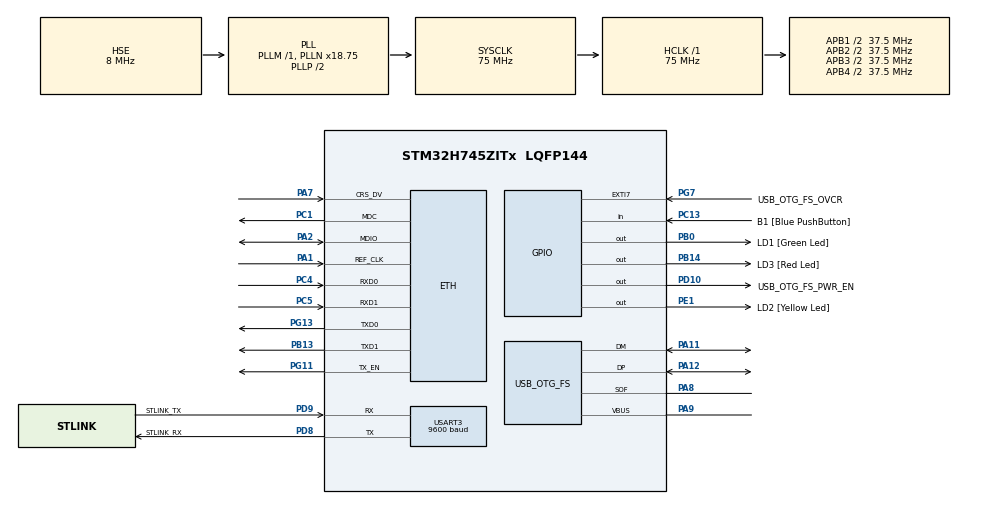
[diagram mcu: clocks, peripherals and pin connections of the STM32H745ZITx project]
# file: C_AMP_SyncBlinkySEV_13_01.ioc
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CortexM4.IPs=FATFS_M4\:I,FREERTOS_M4\:I,IWDG2\:I,RCC,WWDG2\:I,DMA,BDMA,MDMA,NVIC2\:I,ETH,DEBUG,USB_DEVICE_M4\:I,USB_HOST_M4\:I,PDM2PCM_M4\:I,PWR,RESMGR_UTILITY,SYS_M4\:I,CORTEX_M4\:I,OPENAMP_M4\:I,VREFBUF,GPIO,USART3
CortexM4.Pins=PB14,PE1
CortexM7.IPs=FATFS_M7\:I,FREERTOS_M7\:I,IWDG1\:I,RCC\:I,WWDG1\:I,DMA\:I,BDMA\:I,MDMA\:I,NVIC1\:I,SYS\:I,USART3\:I,USB_OTG_FS\:I,ETH\:I,CORTEX_M7\:I,DEBUG\:I,USB_DEVICE_M7\:I,USB_HOST_M7\:I,PDM2PCM_M7\:I,PWR\:I,RESMGR_UTILITY\:I,OPENAMP_M7\:I,VREFBUF\:I,GPIO\:I
CortexM7.Pins=PB0
ETH.MediaInterface=HAL_ETH_RMII_MODE
Mcu.Family=STM32H7
Mcu.Name=STM32H745ZITx
Mcu.Package=LQFP144
NVIC1.PriorityGroup=NVIC_PRIORITYGROUP_4
NVIC2.CM7_SEV_IRQn=true\:0\:0\:false\:false\:true\:true\:false\:true
NVIC2.PriorityGroup=NVIC_PRIORITYGROUP_4
PA1.Mode=RMII
PA1.PinAttribute=CortexM7
PA1.Signal=ETH_REF_CLK
PA11.Mode=Device_Only
PA11.PinAttribute=CortexM7
PA11.Signal=USB_OTG_FS_DM
PA12.Mode=Device_Only
PA12.PinAttribute=CortexM7
PA12.Signal=USB_OTG_FS_DP
PA2.Mode=RMII
PA2.PinAttribute=CortexM7
PA2.Signal=ETH_MDIO
PA7.Mode=RMII
PA7.PinAttribute=CortexM7
PA7.Signal=ETH_CRS_DV
PA8.Mode=Activate_SOF_FS
PA8.PinAttribute=CortexM7
PA8.Signal=USB_OTG_FS_SOF
PA9.Mode=Activate_VBUS
PA9.PinAttribute=CortexM7
PA9.Signal=USB_OTG_FS_VBUS
PB0.GPIO_Label=LD1 [Green Led]
PB0.PinAttribute=CortexM7
PB0.Signal=GPIO_Output
PB13.Mode=RMII
PB13.PinAttribute=CortexM7
PB13.Signal=ETH_TXD1
PB14.GPIO_Label=LD3 [Red Led]
PB14.PinAttribute=CortexM4
PB14.Signal=GPIO_Output
PC1.Mode=RMII
PC1.PinAttribute=CortexM7
PC1.Signal=ETH_MDC
PC13.GPIO_Label=B1 [Blue PushButton]
PC13.PinAttribute=Free
PC13.Signal=GPIO_Input
PC14-OSC32_IN\ (OSC32_IN).Mode=LSE-External-Oscillator
PC14-OSC32_IN\ (OSC32_IN).PinAttribute=CortexM7
PC14-OSC32_IN\ (OSC32_IN).Signal=RCC_OSC32_IN
PC15-OSC32_OUT\ (OSC32_OUT).Mode=LSE-External-Oscillator
PC15-OSC32_OUT\ (OSC32_OUT).PinAttribute=CortexM7
PC15-OSC32_OUT\ (OSC32_OUT).Signal=RCC_OSC32_OUT
PC4.Mode=RMII
PC4.PinAttribute=CortexM7
PC4.Signal=ETH_RXD0
PC5.Mode=RMII
PC5.PinAttribute=CortexM7
PC5.Signal=ETH_RXD1
PD10.GPIO_Label=USB_OTG_FS_PWR_EN
PD10.PinAttribute=Free
PD10.Signal=GPIO_Output
PD8.GPIO_Label=STLINK_RX
PD8.Mode=Asynchronous
PD8.PinAttribute=CortexM7
PD8.Signal=USART3_TX
PD9.GPIO_Label=STLINK_TX
PD9.Mode=Asynchronous
PD9.PinAttribute=CortexM7
PD9.Signal=USART3_RX
PE1.GPIO_Label=LD2 [Yellow Led]
PE1.PinAttribute=CortexM4
PE1.Signal=GPIO_Output
PG11.Mode=RMII
PG11.PinAttribute=CortexM7
PG11.Signal=ETH_TX_EN
PG13.Mode=RMII
PG13.PinAttribute=CortexM7
PG13.Signal=ETH_TXD0
PG7.GPIO_Label=USB_OTG_FS_OVCR
PG7.PinAttribute=Free
PG7.Signal=GPXTI7
PH0-OSC_IN\ (PH0).Mode=HSE-External-Clock-Source
PH0-OSC_IN\ (PH0).PinAttribute=CortexM7
PH0-OSC_IN\ (PH0).Signal=RCC_OSC_IN
PH1-OSC_OUT\ (PH1).PinAttribute=CortexM7
PH1-OSC_OUT\ (PH1).Signal=RCC_OSC_OUT
ProjectManager.HeapSize=M4-0x200,M7-0x200
ProjectManager.StackSize=M4-0x400,M7-0x400
ProjectManager.TargetToolchain=STM32CubeIDE
RCC.ADCFreq_Value=16125000
RCC.APB1Freq_Value=37500000
RCC.APB2Freq_Value=37500000
RCC.APB3Freq_Value=37500000
RCC.APB4Freq_Value=37500000
RCC.CortexFreq_Value=75000000
RCC.D1PPRE=RCC_APB3_DIV2
RCC.D2PPRE1=RCC_APB1_DIV2
RCC.D2PPRE2=RCC_APB2_DIV2
RCC.D3PPRE=RCC_APB4_DIV2
RCC.DIVM1=1
RCC.DIVM3=1
RCC.DIVN1=18
RCC.DIVN3=18
RCC.DIVQ3=3
RCC.HCLKFreq_Value=75000000
RCC.HSE_VALUE=8000000
RCC.PLL2FRACN=0
RCC.PLL3FRACN=6144
RCC.PLLFRACN=6144
RCC.SYSCLKFreq_VALUE=75000000
RCC.SYSCLKSource=RCC_SYSCLKSOURCE_PLLCLK
RCC.SupplySource=PWR_DIRECT_SMPS_SUPPLY
RCC.USBCLockSelection=RCC_USBCLKSOURCE_PLL3
RCC.USBFreq_Value=50000000
USART3.BaudRate=9600
USART3.VirtualMode-Asynchronous=VM_ASYNC
USB_OTG_FS.VirtualMode=Device_Only
VP_SYS_M4_VS_Systick.Mode=SysTick
board=NUCLEO-H745ZI-Q

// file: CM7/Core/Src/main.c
/* USER CODE BEGIN Header */
/**
  ******************************************************************************
  * @file           : main.c
  * @brief          : Main program body
  ******************************************************************************
  * @attention
  *
  * Copyright (c) 2023 STMicroelectronics.
  * All rights reserved.
  *
  * This software is licensed under terms that can be found in the LICENSE file
  * in the root directory of this software component.
  * If no LICENSE file comes with this software, it is provided AS-IS.
  *
  ******************************************************************************
  */
/* USER CODE END Header */
#include "main.h"
#include "string.h"

/* USER CODE BEGIN PD */

#ifndef HSEM_ID_0
#define HSEM_ID_0 (0U) /* HW semaphore 0*/
#endif

/* USER CODE END PD */

#if defined ( __ICCARM__ ) /*!< IAR Compiler */
#pragma location=0x30000000
ETH_DMADescTypeDef  DMARxDscrTab[ETH_RX_DESC_CNT]; /* Ethernet Rx DMA Descriptors */
#pragma location=0x30000200
ETH_DMADescTypeDef  DMATxDscrTab[ETH_TX_DESC_CNT]; /* Ethernet Tx DMA Descriptors */

#elif defined ( __CC_ARM )  /* MDK ARM Compiler */

__attribute__((at(0x30000000))) ETH_DMADescTypeDef  DMARxDscrTab[ETH_RX_DESC_CNT]; /* Ethernet Rx DMA Descriptors */
__attribute__((at(0x30000200))) ETH_DMADescTypeDef  DMATxDscrTab[ETH_TX_DESC_CNT]; /* Ethernet Tx DMA Descriptors */

#elif defined ( __GNUC__ ) /* GNU Compiler */
ETH_DMADescTypeDef DMARxDscrTab[ETH_RX_DESC_CNT] __attribute__((section(".RxDecripSection"))); /* Ethernet Rx DMA Descriptors */
ETH_DMADescTypeDef DMATxDscrTab[ETH_TX_DESC_CNT] __attribute__((section(".TxDecripSection")));   /* Ethernet Tx DMA Descriptors */

#endif

ETH_TxPacketConfig TxConfig;

ETH_HandleTypeDef heth;

UART_HandleTypeDef huart3;

PCD_HandleTypeDef hpcd_USB_OTG_FS;

void SystemClock_Config(void);
static void MX_GPIO_Init(void);
static void MX_ETH_Init(void);
static void MX_USART3_UART_Init(void);
static void MX_USB_OTG_FS_PCD_Init(void);

int main(void)
{
/* USER CODE BEGIN Boot_Mode_Sequence_0 */
  int32_t timeout;
/* USER CODE END Boot_Mode_Sequence_0 */

/* USER CODE BEGIN Boot_Mode_Sequence_1 */
  /* Wait until CPU2 boots and enters in stop mode or timeout*/
  timeout = 0xFFFF;
  while((__HAL_RCC_GET_FLAG(RCC_FLAG_D2CKRDY) != RESET) && (timeout-- > 0));
  if ( timeout < 0 )
  {
  Error_Handler();
  }
/* USER CODE END Boot_Mode_Sequence_1 */
  /* MCU Configuration--------------------------------------------------------*/

  /* Reset of all peripherals, Initializes the Flash interface and the Systick. */
  HAL_Init();

  /* Configure the system clock */
  SystemClock_Config();
/* USER CODE BEGIN Boot_Mode_Sequence_2 */
/* When system initialization is finished, Cortex-M7 will release Cortex-M4 by means of
HSEM notification */
/*HW semaphore Clock enable*/
__HAL_RCC_HSEM_CLK_ENABLE();
/*Take HSEM */
HAL_HSEM_FastTake(HSEM_ID_0);
/*Release HSEM in order to notify the CPU2(CM4)*/
HAL_HSEM_Release(HSEM_ID_0,0);
/* wait until CPU2 wakes up from stop mode */
timeout = 0xFFFF;
while((__HAL_RCC_GET_FLAG(RCC_FLAG_D2CKRDY) == RESET) && (timeout-- > 0));
if ( timeout < 0 )
{
Error_Handler();
}
/* USER CODE END Boot_Mode_Sequence_2 */

  /* Initialize all configured peripherals */
  MX_GPIO_Init();
  MX_ETH_Init();
  MX_USART3_UART_Init();
  MX_USB_OTG_FS_PCD_Init();
  /* USER CODE BEGIN 2 */
  uint32_t lastGetTick;
  uint8_t TakeSem = 1;
  HAL_StatusTypeDef res;
  /* USER CODE END 2 */

  /* Infinite loop */
  while (1)
  {

    /* USER CODE BEGIN 3 */
	if((HAL_GetTick() - lastGetTick) >= 500) {
		if(TakeSem) {
			res = HAL_HSEM_Take(1, 7);
			HAL_GPIO_TogglePin(LD1_GPIO_Port, LD1_Pin);
			HAL_GPIO_WritePin(LD1_GPIO_Port, LD1_Pin, GPIO_PIN_SET);
			TakeSem = 0;
		} else {
			HAL_HSEM_Release(1,  7);
			TakeSem = 1;
			HAL_GPIO_WritePin(LD1_GPIO_Port, LD1_Pin, GPIO_PIN_RESET);
			__SEV();
		}

		lastGetTick = HAL_GetTick();
	}
  }
  /* USER CODE END 3 */
}

void SystemClock_Config(void)
{
  RCC_OscInitTypeDef RCC_OscInitStruct = {0};
  RCC_ClkInitTypeDef RCC_ClkInitStruct = {0};

  /** Supply configuration update enable
  */
  HAL_PWREx_ConfigSupply(PWR_DIRECT_SMPS_SUPPLY);

  /** Configure the main internal regulator output voltage
  */
  __HAL_PWR_VOLTAGESCALING_CONFIG(PWR_REGULATOR_VOLTAGE_SCALE3);

  while(!__HAL_PWR_GET_FLAG(PWR_FLAG_VOSRDY)) {}

  /** Initializes the RCC Oscillators according to the specified parameters
  * in the RCC_OscInitTypeDef structure.
  */
  RCC_OscInitStruct.OscillatorType = RCC_OSCILLATORTYPE_HSE;
  RCC_OscInitStruct.HSEState = RCC_HSE_BYPASS;
  RCC_OscInitStruct.PLL.PLLState = RCC_PLL_ON;
  RCC_OscInitStruct.PLL.PLLSource = RCC_PLLSOURCE_HSE;
  RCC_OscInitStruct.PLL.PLLM = 1;
  RCC_OscInitStruct.PLL.PLLN = 18;
  RCC_OscInitStruct.PLL.PLLP = 2;
  RCC_OscInitStruct.PLL.PLLQ = 2;
  RCC_OscInitStruct.PLL.PLLR = 2;
  RCC_OscInitStruct.PLL.PLLRGE = RCC_PLL1VCIRANGE_3;
  RCC_OscInitStruct.PLL.PLLVCOSEL = RCC_PLL1VCOMEDIUM;
  RCC_OscInitStruct.PLL.PLLFRACN = 6144;
  if (HAL_RCC_OscConfig(&RCC_OscInitStruct) != HAL_OK)
  {
    Error_Handler();
  }

  /** Initializes the CPU, AHB and APB buses clocks
  */
  RCC_ClkInitStruct.ClockType = RCC_CLOCKTYPE_HCLK|RCC_CLOCKTYPE_SYSCLK
                              |RCC_CLOCKTYPE_PCLK1|RCC_CLOCKTYPE_PCLK2
                              |RCC_CLOCKTYPE_D3PCLK1|RCC_CLOCKTYPE_D1PCLK1;
  RCC_ClkInitStruct.SYSCLKSource = RCC_SYSCLKSOURCE_PLLCLK;
  RCC_ClkInitStruct.SYSCLKDivider = RCC_SYSCLK_DIV1;
  RCC_ClkInitStruct.AHBCLKDivider = RCC_HCLK_DIV1;
  RCC_ClkInitStruct.APB3CLKDivider = RCC_APB3_DIV2;
  RCC_ClkInitStruct.APB1CLKDivider = RCC_APB1_DIV2;
  RCC_ClkInitStruct.APB2CLKDivider = RCC_APB2_DIV2;
  RCC_ClkInitStruct.APB4CLKDivider = RCC_APB4_DIV2;

  if (HAL_RCC_ClockConfig(&RCC_ClkInitStruct, FLASH_LATENCY_1) != HAL_OK)
  {
    Error_Handler();
  }
}

static void MX_ETH_Init(void)
{

   static uint8_t MACAddr[6];

  heth.Instance = ETH;
  MACAddr[0] = 0x00;
  MACAddr[1] = 0x80;
  MACAddr[2] = 0xE1;
  MACAddr[3] = 0x00;
  MACAddr[4] = 0x00;
  MACAddr[5] = 0x00;
  heth.Init.MACAddr = &MACAddr[0];
  heth.Init.MediaInterface = HAL_ETH_RMII_MODE;
  heth.Init.TxDesc = DMATxDscrTab;
  heth.Init.RxDesc = DMARxDscrTab;
  heth.Init.RxBuffLen = 1524;

  if (HAL_ETH_Init(&heth) != HAL_OK)
  {
    Error_Handler();
  }

  memset(&TxConfig, 0 , sizeof(ETH_TxPacketConfig));
  TxConfig.Attributes = ETH_TX_PACKETS_FEATURES_CSUM | ETH_TX_PACKETS_FEATURES_CRCPAD;
  TxConfig.ChecksumCtrl = ETH_CHECKSUM_IPHDR_PAYLOAD_INSERT_PHDR_CALC;
  TxConfig.CRCPadCtrl = ETH_CRC_PAD_INSERT;

}

static void MX_USART3_UART_Init(void)
{

  huart3.Instance = USART3;
  huart3.Init.BaudRate = 9600;
  huart3.Init.WordLength = UART_WORDLENGTH_8B;
  huart3.Init.StopBits = UART_STOPBITS_1;
  huart3.Init.Parity = UART_PARITY_NONE;
  huart3.Init.Mode = UART_MODE_TX_RX;
  huart3.Init.HwFlowCtl = UART_HWCONTROL_NONE;
  huart3.Init.OverSampling = UART_OVERSAMPLING_16;
  huart3.Init.OneBitSampling = UART_ONE_BIT_SAMPLE_DISABLE;
  huart3.Init.ClockPrescaler = UART_PRESCALER_DIV1;
  huart3.AdvancedInit.AdvFeatureInit = UART_ADVFEATURE_NO_INIT;
  if (HAL_UART_Init(&huart3) != HAL_OK)
  {
    Error_Handler();
  }
  if (HAL_UARTEx_SetTxFifoThreshold(&huart3, UART_TXFIFO_THRESHOLD_1_8) != HAL_OK)
  {
    Error_Handler();
  }
  if (HAL_UARTEx_SetRxFifoThreshold(&huart3, UART_RXFIFO_THRESHOLD_1_8) != HAL_OK)
  {
    Error_Handler();
  }
  if (HAL_UARTEx_DisableFifoMode(&huart3) != HAL_OK)
  {
    Error_Handler();
  }

}

static void MX_USB_OTG_FS_PCD_Init(void)
{

  hpcd_USB_OTG_FS.Instance = USB_OTG_FS;
  hpcd_USB_OTG_FS.Init.dev_endpoints = 9;
  hpcd_USB_OTG_FS.Init.speed = PCD_SPEED_FULL;
  hpcd_USB_OTG_FS.Init.dma_enable = DISABLE;
  hpcd_USB_OTG_FS.Init.phy_itface = PCD_PHY_EMBEDDED;
  hpcd_USB_OTG_FS.Init.Sof_enable = DISABLE;
  hpcd_USB_OTG_FS.Init.low_power_enable = DISABLE;
  hpcd_USB_OTG_FS.Init.lpm_enable = DISABLE;
  hpcd_USB_OTG_FS.Init.battery_charging_enable = ENABLE;
  hpcd_USB_OTG_FS.Init.vbus_sensing_enable = ENABLE;
  hpcd_USB_OTG_FS.Init.use_dedicated_ep1 = DISABLE;
  if (HAL_PCD_Init(&hpcd_USB_OTG_FS) != HAL_OK)
  {
    Error_Handler();
  }

}

static void MX_GPIO_Init(void)
{
  GPIO_InitTypeDef GPIO_InitStruct = {0};

  /* GPIO Ports Clock Enable */
  __HAL_RCC_GPIOC_CLK_ENABLE();
  __HAL_RCC_GPIOH_CLK_ENABLE();
  __HAL_RCC_GPIOA_CLK_ENABLE();
  __HAL_RCC_GPIOB_CLK_ENABLE();
  __HAL_RCC_GPIOD_CLK_ENABLE();
  __HAL_RCC_GPIOG_CLK_ENABLE();

  /*Configure GPIO pin Output Level */
  HAL_GPIO_WritePin(LD1_GPIO_Port, LD1_Pin, GPIO_PIN_RESET);

  /*Configure GPIO pin : LD1_Pin */
  GPIO_InitStruct.Pin = LD1_Pin;
  GPIO_InitStruct.Mode = GPIO_MODE_OUTPUT_PP;
  GPIO_InitStruct.Pull = GPIO_NOPULL;
  GPIO_InitStruct.Speed = GPIO_SPEED_FREQ_LOW;
  HAL_GPIO_Init(LD1_GPIO_Port, &GPIO_InitStruct);

}

void Error_Handler(void)
{
  __disable_irq();
  while (1)
  {
  }
}
